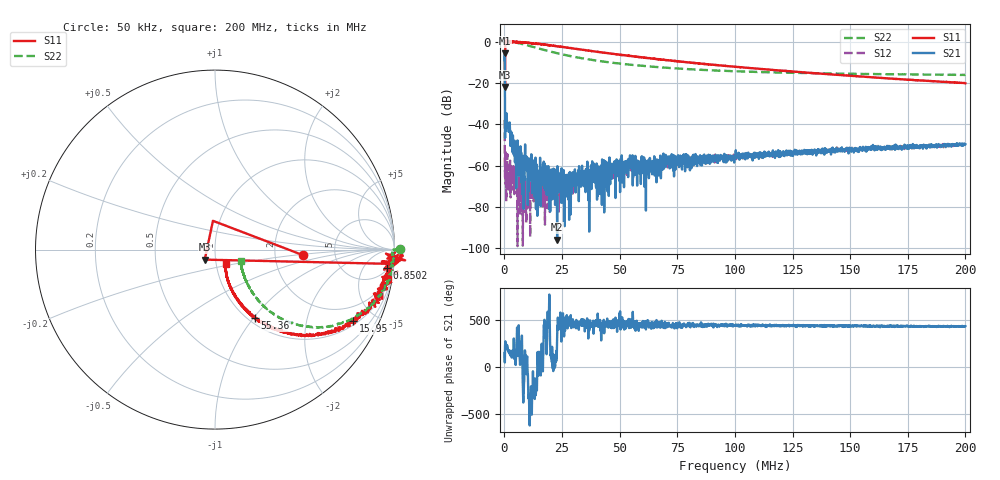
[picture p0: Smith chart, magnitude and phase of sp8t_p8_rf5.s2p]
! 26-Feb-26 1:13:17 PM
! E:\VNA_MEASUREMENTS\SP8T\SP8T_P8_RF5.S2P
! CHANNEL.1
! TR.MEASUREMENT
! CORRECTED.DATA
# GHZ S RI R 50.0
! FREQ.GHZ  S11RE  S11IM  S21RE  S21IM  S12RE  S12IM  S22RE  S22IM
!; PortSelection: Port_12
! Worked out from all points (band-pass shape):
!   2000 points, 50 kHz to 200 MHz, reference 50 ohm
!   highest |S21| = -5.80 dB at 150 kHz (marker M1); lowest = -95.8 dB at 22.86 MHz (marker M2)
!   |S21| within 3 dB of the highest: 58.19 kHz to 157.4 kHz (99.18 kHz wide, 92 % of centre)
!   lowest |S11| = -22.0 dB at 250 kHz (marker M3), VSWR 1.17, Z = 44.3 - j4.98 ohm
!   |S11| at or under -10 dB: 89.24 kHz to 304.8 kHz (215.5 kHz wide, 109 % of centre); 78.64705 MHz to 78.8241 MHz (177.1 kHz wide, 0.225 % of centre); 79 MHz to end of sweep
!   |S22| runs from -16.2 to 0.2 dB; largest |S21 - S12| = 0.51
!   S11 on the Smith chart (normalised r, x): 50 kHz: 2.90, -0.23; 850.2 kHz: 6, -16; 15.95 MHz: 1.17, -3.76; 55.36 MHz: 1.08, -1.02; 200 MHz: 1.11, -0.17
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5e-05  0.4883 -0.0302  -0.3119 0.1636  -0.0122 0.00344  1.028 0.00394
0.000150025  -0.0114 0.1604  0.3155 0.4046  -0.000866 -0.000686  0.9941 2.77e-05
0.00025005  -0.0571 -0.0558  -0.00313 -0.00343  -0.000158 -0.000492  1.01 -0.015
0.0008502  0.9569 -0.1037  -0.0164 -0.00845  -0.000116 0.000655  0.9928 -0.0475
0.0012503  0.9527 -0.0223  -0.00889 -0.00643  0.00181 -0.000504  0.9993 -0.0871
0.0016504  0.9856 -0.0423  -0.00872 0.000522  0.000285 -0.00067  0.975 -0.094
0.004051001  0.9523 -0.1662  0.00111 -0.00143  0.000193 -0.000924  0.9247 -0.2349
0.007751926  0.9177 -0.2463  0.000846 0.00105  -6.53e-05 4.51e-05  0.7829 -0.3774
0.008652151  0.9201 -0.2515  0.000387 0.000215  0.000195 0.000114  0.7461 -0.3933
0.01155288  0.8468 -0.3462  -0.000524 0.000285  -0.000412 -9.41e-05  0.6341 -0.4304
0.01465365  0.7908 -0.3959  0.000167 -1.53e-05  9.38e-05 7.48e-05  0.5288 -0.432
0.01595398  0.7696 -0.3996  -0.000329 0.000382  -0.000128 0.000152  0.4939 -0.4252
0.0228557  0.6071 -0.4699  1.51e-05 5.8e-06  -8.15e-05 0.000244  0.3587 -0.3779
0.03345835  0.429 -0.4681  1.98e-05 0.000692  8.32e-05 0.000427  0.2571 -0.3004
0.0424606  0.3218 -0.4423  -0.000222 0.000754  2.46e-05 0.000706  0.2157 -0.25
0.04696173  0.2843 -0.4195  -1.59e-05 0.000648  -0.000206 0.000762  0.2027 -0.229
0.05536383  0.2238 -0.3801  0.000377 0.00117  -0.000103 0.000882  0.185 -0.1995
0.06676668  0.1673 -0.3353  -0.000213 0.00098  -9.02e-05 0.000957  0.1712 -0.1677
0.100075  0.0943 -0.2271  -1.57e-05 0.00149  0.00016 0.00176  0.1522 -0.1155
0.1333833  0.0682 -0.1592  0.000279 0.00223  6.2e-06 0.00228  0.1466 -0.0896
0.1666917  0.0594 -0.113  0.000778 0.00245  0.00057 0.00267  0.1439 -0.0737
0.2  0.0591 -0.0776  0.000634 0.0032  0.000746 0.00316  0.1427 -0.0617
